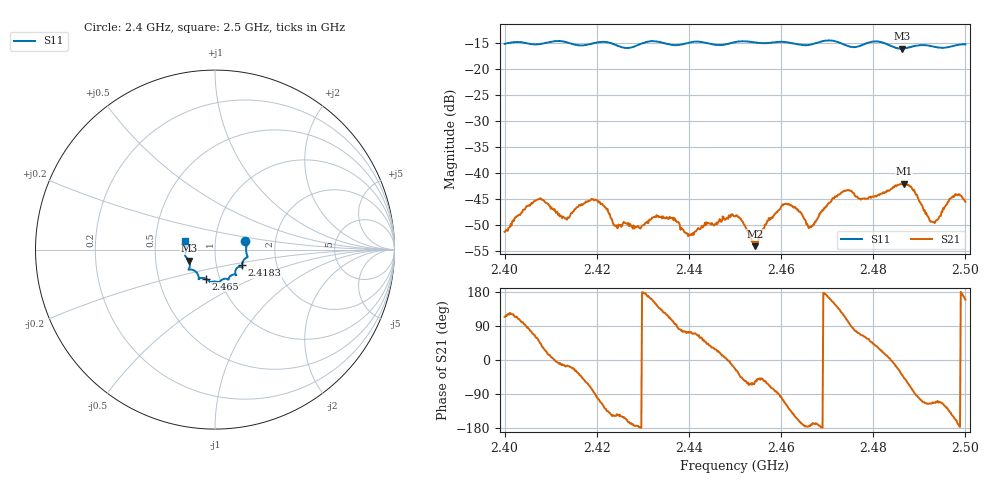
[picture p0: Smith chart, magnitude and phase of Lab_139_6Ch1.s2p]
# Hz S RI R 50
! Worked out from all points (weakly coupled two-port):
!   601 points, 2.4 GHz to 2.5 GHz, reference 50 ohm
!   highest |S21| = -42.01 dB at 2.4867 GHz (marker M1); lowest = -54.0 dB at 2.4543 GHz (marker M2)
!   lowest |S11| = -16.1 dB at 2.4863 GHz (marker M3), VSWR 1.37, Z = 37.1 - j4.67 ohm
!   |S11| at or under -10 dB: start of sweep to end of sweep
!   S12 and S22 are empty: the file has one direction only
!   S11 on the Smith chart (normalised r, x): 2.4 GHz: 1.40, +0.14; 2.4183 GHz: 1.33, -0.24; 2.465 GHz: 0.86, -0.29; 2.5 GHz: 0.71, +0.07
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2.4e9  0.1688 0.047  -0.00111 0.00249  0 0  0 0
2.407333e9  0.1732 -0.00775  0.00347 0.00443  0 0  0 0
2.413e9  0.1785 -0.0429  0.00358 -0.000969  0 0  0 0
2.416667e9  0.1546 -0.0681  0.00367 -0.00347  0 0  0 0
2.418333e9  0.1502 -0.0868  0.00213 -0.00501  0 0  0 0
2.4215e9  0.1533 -0.0996  -0.00256 -0.00412  0 0  0 0
2.424167e9  0.1413 -0.0952  -0.00267 -0.00169  0 0  0 0
2.433333e9  0.1176 -0.1409  -0.00297 0.0025  0 0  0 0
2.440167e9  0.0759 -0.1639  0.000691 0.00244  0 0  0 0
2.45e9  0.0262 -0.1801  0.00354 -0.00148  0 0  0 0
2.454333e9  0.0124 -0.1802  0.00108 -0.00167  0 0  0 0
2.460667e9  -0.0284 -0.1807  -0.00179 -0.00471  0 0  0 0
2.465e9  -0.0524 -0.1617  -0.0036 -0.000469  0 0  0 0
2.466667e9  -0.0713 -0.1577  -0.00307 -0.000509  0 0  0 0
2.4735e9  -0.0924 -0.147  -0.00326 0.00582  0 0  0 0
2.477667e9  -0.1293 -0.1119  0.00239 0.00514  0 0  0 0
2.483333e9  -0.1413 -0.0968  0.00672 0.000692  0 0  0 0
2.486333e9  -0.1447 -0.0613  0.00587 -0.00512  0 0  0 0
2.486667e9  -0.1469 -0.0579  0.00538 -0.00583  0 0  0 0
2.492833e9  -0.1641 -0.0217  -0.00127 -0.00318  0 0  0 0
2.4975e9  -0.1648 0.0312  -0.00519 -0.00286  0 0  0 0
2.5e9  -0.1667 0.0468  -0.00496 0.00189  0 0  0 0
